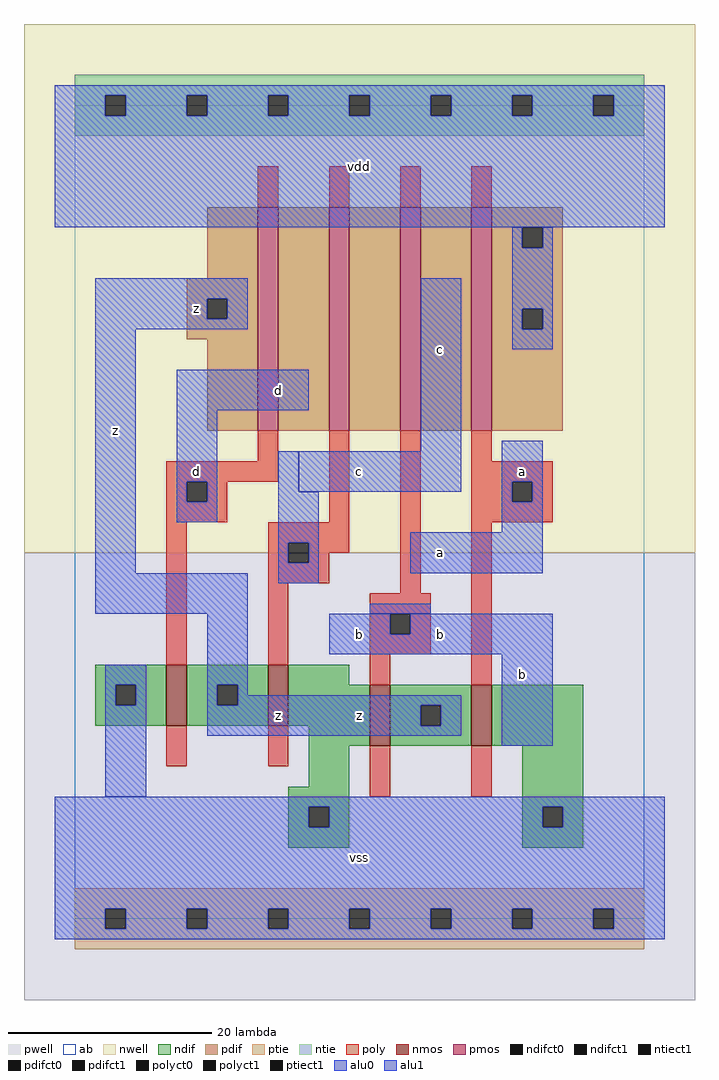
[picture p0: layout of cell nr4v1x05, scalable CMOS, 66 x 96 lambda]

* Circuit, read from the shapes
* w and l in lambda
.subckt nr4v1x05 a b c d vdd vss z
M1 z d vss vss nfet w=6 l=2
M2 vss c z vss nfet w=6 l=2
M3 z b vss vss nfet w=6 l=2
M4 vss a z vss nfet w=6 l=2
M5 n1 d z vdd pfet w=22 l=2
M6 n2 c n1 vdd pfet w=22 l=2
M7 n3 b n2 vdd pfet w=22 l=2
M8 vdd a n3 vdd pfet w=22 l=2
.ends

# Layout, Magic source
magic
tech scmos
<< ab >>
rect 0 0 56 80
<< nwell >>
rect -5 36 61 88
<< pwell >>
rect -5 -8 61 36
<< poly >>
rect 18 70 20 74
rect 25 70 27 74
rect 32 70 34 74
rect 39 70 41 74
rect 18 45 20 48
rect 9 43 20 45
rect 9 41 11 43
rect 13 41 15 43
rect 9 39 15 41
rect 25 39 27 48
rect 9 25 11 39
rect 19 37 27 39
rect 19 35 21 37
rect 23 36 27 37
rect 23 35 25 36
rect 19 33 25 35
rect 19 25 21 33
rect 32 32 34 48
rect 39 45 41 48
rect 39 43 47 45
rect 39 41 43 43
rect 45 41 47 43
rect 39 39 47 41
rect 29 30 35 32
rect 29 28 31 30
rect 33 28 35 30
rect 29 26 35 28
rect 29 23 31 26
rect 39 23 41 39
rect 9 15 11 19
rect 19 15 21 19
rect 29 12 31 17
rect 39 12 41 17
<< ndif >>
rect 2 23 9 25
rect 2 21 4 23
rect 6 21 9 23
rect 2 19 9 21
rect 11 23 19 25
rect 11 21 14 23
rect 16 21 19 23
rect 11 19 19 21
rect 21 23 27 25
rect 21 19 29 23
rect 23 17 29 19
rect 31 21 39 23
rect 31 19 34 21
rect 36 19 39 21
rect 31 17 39 19
rect 41 17 50 23
rect 23 13 27 17
rect 21 11 27 13
rect 21 9 23 11
rect 25 9 27 11
rect 21 7 27 9
rect 44 11 50 17
rect 44 9 46 11
rect 48 9 50 11
rect 44 7 50 9
<< pdif >>
rect 13 63 18 70
rect 11 61 18 63
rect 11 59 13 61
rect 15 59 18 61
rect 11 57 18 59
rect 13 48 18 57
rect 20 48 25 70
rect 27 48 32 70
rect 34 48 39 70
rect 41 68 48 70
rect 41 66 44 68
rect 46 66 48 68
rect 41 60 48 66
rect 41 58 44 60
rect 46 58 48 60
rect 41 48 48 58
<< alu1 >>
rect -2 81 58 82
rect -2 79 3 81
rect 5 79 11 81
rect 13 79 19 81
rect 21 79 27 81
rect 29 79 35 81
rect 37 79 43 81
rect 45 79 51 81
rect 53 79 58 81
rect -2 68 58 79
rect 2 61 17 63
rect 2 59 13 61
rect 15 59 17 61
rect 2 58 17 59
rect 2 34 6 58
rect 10 50 23 54
rect 10 43 14 50
rect 34 46 38 63
rect 10 41 11 43
rect 13 41 14 43
rect 10 39 14 41
rect 22 42 38 46
rect 42 43 46 47
rect 42 41 43 43
rect 45 41 46 43
rect 42 38 46 41
rect 2 30 17 34
rect 33 34 46 38
rect 13 23 17 30
rect 25 28 31 30
rect 33 28 47 30
rect 25 26 47 28
rect 13 21 14 23
rect 16 22 17 23
rect 16 21 38 22
rect 13 19 34 21
rect 36 19 38 21
rect 13 18 38 19
rect 42 17 47 26
rect -2 11 58 12
rect -2 9 23 11
rect 25 9 46 11
rect 48 9 58 11
rect -2 1 58 9
rect -2 -1 3 1
rect 5 -1 11 1
rect 13 -1 19 1
rect 21 -1 27 1
rect 29 -1 35 1
rect 37 -1 43 1
rect 45 -1 51 1
rect 53 -1 58 1
rect -2 -2 58 -1
<< ptie >>
rect 0 1 56 3
rect 0 -1 3 1
rect 5 -1 11 1
rect 13 -1 19 1
rect 21 -1 27 1
rect 29 -1 35 1
rect 37 -1 43 1
rect 45 -1 51 1
rect 53 -1 56 1
rect 0 -3 56 -1
<< ntie >>
rect 0 81 56 83
rect 0 79 3 81
rect 5 79 11 81
rect 13 79 19 81
rect 21 79 27 81
rect 29 79 35 81
rect 37 79 43 81
rect 45 79 51 81
rect 53 79 56 81
rect 0 77 56 79
<< nmos >>
rect 9 19 11 25
rect 19 19 21 25
rect 29 17 31 23
rect 39 17 41 23
<< pmos >>
rect 18 48 20 70
rect 25 48 27 70
rect 32 48 34 70
rect 39 48 41 70
<< polyct0 >>
rect 21 35 23 37
<< polyct1 >>
rect 11 41 13 43
rect 43 41 45 43
rect 31 28 33 30
<< ndifct0 >>
rect 4 21 6 23
<< ndifct1 >>
rect 14 21 16 23
rect 34 19 36 21
rect 23 9 25 11
rect 46 9 48 11
<< ntiect1 >>
rect 3 79 5 81
rect 11 79 13 81
rect 19 79 21 81
rect 27 79 29 81
rect 35 79 37 81
rect 43 79 45 81
rect 51 79 53 81
<< ptiect1 >>
rect 3 -1 5 1
rect 11 -1 13 1
rect 19 -1 21 1
rect 27 -1 29 1
rect 35 -1 37 1
rect 43 -1 45 1
rect 51 -1 53 1
<< pdifct0 >>
rect 44 66 46 68
rect 44 58 46 60
<< pdifct1 >>
rect 13 59 15 61
<< alu0 >>
rect 43 66 44 68
rect 46 66 47 68
rect 43 60 47 66
rect 43 58 44 60
rect 46 58 47 60
rect 43 56 47 58
rect 20 42 22 46
rect 20 37 24 42
rect 20 35 21 37
rect 23 35 24 37
rect 20 33 24 35
rect 29 30 35 31
rect 3 23 7 25
rect 3 21 4 23
rect 6 21 7 23
rect 3 12 7 21
<< labels >>
rlabel alu1 4 48 4 48 6 z
rlabel alu1 20 20 20 20 6 z
rlabel alu1 12 44 12 44 6 d
rlabel alu1 20 52 20 52 6 d
rlabel alu1 12 60 12 60 6 z
rlabel alu1 28 6 28 6 6 vss
rlabel alu1 28 20 28 20 6 z
rlabel alu1 28 28 28 28 6 b
rlabel alu1 36 36 36 36 6 a
rlabel alu1 36 28 36 28 6 b
rlabel alu1 28 44 28 44 6 c
rlabel alu1 36 56 36 56 6 c
rlabel alu1 28 74 28 74 6 vdd
rlabel alu1 44 24 44 24 6 b
rlabel alu1 44 44 44 44 6 a
<< end >>
